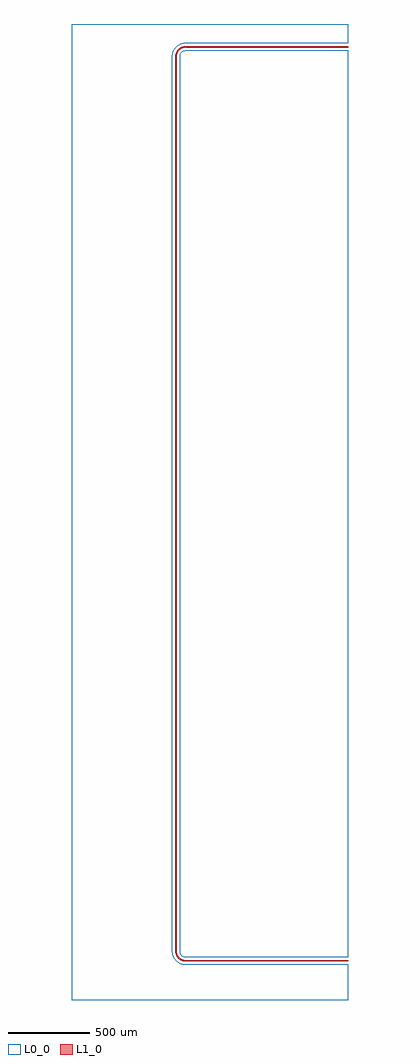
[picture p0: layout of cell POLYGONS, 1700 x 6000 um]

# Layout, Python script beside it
#!/usr/bin/env python
import os
from resgds import *
import bragg
from interface import Interface
import gdspy # gds library
import numpy as np
#from subprocess import call # Use to call kaloput_viewer bash script
#import psutil # Use to check if klayout is running already

# Layout filename
layout_file ='0_Mirrors_Bragg2_CST.gds'

# Parameters
#__________________________________________________________
sub_x, sub_y = [1700, 6000] # substrate dimensions
wc, gc, lc = [8.11, 17.85, 8108.45] # Cavity width, gap, length
wlow, llow = [30.44, 4051.32]  # Low Z section
whigh, lhigh = [2, 4051.32] # High Z section
glow, ghigh = [.5*(wc + 2*gc - wlow),.5*(wc + 2*gc - whigh)]

rext, rlow, rhigh = [0, 55, 55] # radii

lext1, lext2 = [400, 1200] # Extrude lengths
lext3 = llow - lext1 - lext2 - 500*np.pi - 150*np.pi

# Start making resonator geometry
############################################################################

# # Setup gds cell and gds object
poly_cell = gdspy.Cell('POLYGONS')
rs = Shapes(poly_cell)

# Substrate coordinate list
sub = rs.rect(sub_x,sub_y,0,0)
substrate = gdspy.Polygon(sub, layer=0)

# Cavity sections
#
coords = lambda x,dx=0: x+dx
# xb_strt,yb_strt = [coords(1250),coords(sub_y/2)- lext2 - lext3 - 140]
xb_strt,yb_strt = [755,1300]
lcav1, lcav2, lcav3 = [1000, 5500, 100]
taper_length = 100

cav_x0,cav_y0 = [coords(xb_strt,-rlow),coords(yb_strt,-lcav1-rlow-wc)] 
cav_cond = [rs.rect(lcav1, wc, cav_x0, cav_y0)]

cav_x1,cav_y1 = [coords(xb_strt,-rlow),coords(yb_strt,-lcav1)]
cav_cond += [rs.quarterarc(rlow,wc,cav_x1,cav_y1,orientation='SW',npoints=40)]

cav_x2,cav_y2 = [coords(xb_strt,-2*rlow-wc),coords(yb_strt,-lcav1)]
cav_cond += [rs.rect(wc,lcav2,cav_x2,cav_y2)]

cav_x3,cav_y3 = [coords(xb_strt,-rlow),coords(yb_strt,lcav2-lcav1)]
cav_cond += [rs.quarterarc(rlow,wc,cav_x3,cav_y3,orientation='NW',npoints=40)]

cav_x4,cav_y4 = [coords(xb_strt,-rlow),coords(cav_y3,rlow)]
cav_cond += [rs.rect(lcav1,wc,cav_x4,cav_y4)]


for i in range(0,len(cav_cond)):
	cavity = gdspy.Polygon(cav_cond[i],1)
	poly_cell.add(cavity)


# Cavity substrate remove
crmw = wc+2*gc

cav_x0r,cav_y0r = [coords(xb_strt,-gc),coords(yb_strt,-lcav1-rlow+gc-crmw)] 
cav_rm = [rs.rect(lcav1,crmw, cav_x0r-rlow+gc, cav_y0r)]

cav_x1r,cav_y1r = [coords(cav_x0r,-rlow+gc),coords(yb_strt,-lcav1)]
cav_rm += [rs.quarterarc(rlow-gc,crmw,cav_x1r,cav_y1r,orientation='SW',npoints=40)]

cav_x2r,cav_y2r = [coords(xb_strt,-2*rlow-gc-wc),coords(yb_strt,-lcav1)]
cav_rm += [rs.rect(crmw,lcav2,cav_x2r,cav_y2r)]

cav_x3r,cav_y3r = [coords(cav_x0r,-rlow+gc),coords(yb_strt,lcav2-lcav1)]
cav_rm += [rs.quarterarc(rlow-gc,crmw,cav_x3r,cav_y3r,orientation='NW',npoints=40)]

cav_x4r,cav_y4r = [coords(cav_x0r),coords(cav_y3r,rlow+gc+wc-crmw)]
cav_rm += [rs.rect(lcav1,crmw,cav_x0r-rlow+gc,cav_y4r)]

for i in range(0,len(cav_rm)):
	remove = gdspy.Polygon(cav_rm[i],2)
	substrate = gdspy.fast_boolean(substrate,remove, 'not', 
		precision=1e-9, max_points=1000, layer=0)


# # Bragg Mirror Sections
# ###########################################################################

# # LOWER BRAGG SECTIONS
# ######################
# no_periods = 4
# highZ = bragg.BraggCST(whigh, ghigh, lhigh, poly_cell, radius=rhigh, layer=2)
# lowZ = bragg.BraggCST(wlow, glow, llow, poly_cell, radius=rlow, layer=2)
# rmw = wc+2*gc
# rmlZ = bragg.BraggCST(rmw, gc, llow, poly_cell, radius=48.315, layer=2)
# rmhZ = bragg.BraggCST(rmw, gc, lhigh, poly_cell, radius=34.095, layer=2)

# xlz1,ylz1 = [coords(xb_strt+wc/2-wlow/2),coords(yb_strt)]
# lz = [lowZ.mirror(xlz1,ylz1, w_remove=wc, g_remove=gc)]

# xhz1,yhz1 = [coords(xlz1-wlow/2-whigh/2+lowZ.mirror_width()),coords(yb_strt)]
# hz = [highZ.mirror(xhz1,yhz1, w_remove=wc, g_remove=gc)]

# xlz2,ylz2 = [coords(xhz1-whigh/2-wlow/2+highZ.mirror_width()),coords(yb_strt)]
# lz += [lowZ.mirror(xlz2,ylz2, w_remove=wc, g_remove=gc)]

# xhz2,yhz2 = [coords(xlz2-wlow/2-whigh/2+lowZ.mirror_width()),coords(yb_strt)]
# hz += [highZ.mirror(xhz2,yhz2, w_remove=wc, g_remove=gc)]

# xlz3,ylz3 = [coords(xhz2-whigh/2-wlow/2+highZ.mirror_width()),coords(yb_strt)]
# lz += [lowZ.mirror(xlz3,ylz3, w_remove=wc, g_remove=gc)]

# xhz3,yhz3 = [coords(xlz3-wlow/2-whigh/2+lowZ.mirror_width()),coords(yb_strt)]
# hz += [highZ.mirror(xhz3,yhz3, w_remove=wc, g_remove=gc)]

# xlz4,ylz4 = [coords(xhz3-whigh/2-wlow/2+highZ.mirror_width()),coords(yb_strt)]
# lz += [lowZ.mirror(xlz4,ylz4, w_remove=wc, g_remove=gc)]

# xhz4,yhz4 = [coords(xlz4-wlow/2-whigh/2+lowZ.mirror_width()),coords(yb_strt)]
# hz += [highZ.mirror(xhz4,yhz4, w_remove=wc, g_remove=gc)]

# # LOWER BRAGG SECTION REMOVES
# #############################

# ll1,ll2,ll3,arcl = lowZ.section_lengths(wlow,glow)
# lengths_low=[ll1,ll2,ll3,arcl]

# lh1,lh2,lh3,arch = highZ.section_lengths(whigh,ghigh)
# lengths_high=[lh1,lh2,lh3,arch]

# xrm1,yrm1 = [coords(xb_strt,-rmw/2+wc/2),coords(yb_strt)]
# rm = [rmlZ.mirror_removes(xrm1,yrm1,lengths_low)]

# xrm2,yrm2 = [coords(xrm1,-wlow+lowZ.mirror_width()),coords(yb_strt)]
# rm += [rmhZ.mirror_removes(xrm2,yrm2,lengths_high)]

# xrm3,yrm3 = [coords(xrm2,-whigh+highZ.mirror_width()),coords(yb_strt)]
# rm += [rmlZ.mirror_removes(xrm3,yrm3,lengths_low)]

# xrm4,yrm4 = [coords(xrm3,-wlow+lowZ.mirror_width()),coords(yb_strt)]
# rm += [rmhZ.mirror_removes(xrm4,yrm4,lengths_high)]

# xrm5,yrm5 = [coords(xrm4,-whigh+highZ.mirror_width()),coords(yb_strt)]
# rm += [rmlZ.mirror_removes(xrm5,yrm5,lengths_low)]

# xrm6,yrm6 = [coords(xrm5,-wlow+lowZ.mirror_width()),coords(yb_strt)]
# rm += [rmhZ.mirror_removes(xrm6,yrm6,lengths_high)]

# xrm7,yrm7 = [coords(xrm6,-whigh+highZ.mirror_width()),coords(yb_strt)]
# rm += [rmlZ.mirror_removes(xrm7,yrm7,lengths_low)]

# xrm8,yrm8 = [coords(xrm7,-wlow+lowZ.mirror_width()),coords(yb_strt)]
# rm += [rmhZ.mirror_removes(xrm8,yrm8,lengths_high)]

# for i in range(0, np.shape(lz)[0]):
# 	for j in range(0, np.shape(lz)[1]):
# 		mirror_lz = gdspy.Polygon(lz[i][j],1)
# 		mirror_hz = gdspy.Polygon(hz[i][j],1)
# 		poly_cell.add(mirror_lz)
# 		poly_cell.add(mirror_hz)

# for i in range(0, np.shape(rm)[0]):
# 	for j in range(0, np.shape(rm)[1]):
# 		mirror_rm = gdspy.Polygon(rm[i][j],2)
# 		substrate = gdspy.fast_boolean(substrate,mirror_rm, 'not', 
# 		precision=1e-9, max_points=1000, layer=0)

# # UPPER BRAGG SECTIONS
# ######################

# xlz1,ylz1 = [coords(xb_strt+wc/2-wlow/2),coords(cav_y4,-lcav1)]
# lz = [lowZ.rotate_mirror(xlz1,ylz1, w_remove=wc, g_remove=gc)]

# xhz1,yhz1 = [coords(xlz1-wlow/2-whigh/2+lowZ.mirror_width()),coords(ylz1)]
# hz = [highZ.rotate_mirror(xhz1,yhz1, w_remove=wc, g_remove=gc)]

# xlz2,ylz2 = [coords(xhz1-whigh/2-wlow/2+highZ.mirror_width()),coords(yhz1)]
# lz += [lowZ.rotate_mirror(xlz2,ylz2, w_remove=wc, g_remove=gc)]

# xhz2,yhz2 = [coords(xlz2-wlow/2-whigh/2+lowZ.mirror_width()),coords(ylz1)]
# hz += [highZ.rotate_mirror(xhz2,yhz2, w_remove=wc, g_remove=gc)]

# xlz3,ylz3 = [coords(xhz2-whigh/2-wlow/2+highZ.mirror_width()),coords(yhz1)]
# lz += [lowZ.rotate_mirror(xlz3,ylz3, w_remove=wc, g_remove=gc)]

# xhz3,yhz3 = [coords(xlz3-wlow/2-whigh/2+lowZ.mirror_width()),coords(ylz1)]
# hz += [highZ.rotate_mirror(xhz3,yhz3, w_remove=wc, g_remove=gc)]

# xlz4,ylz4 = [coords(xhz3-whigh/2-wlow/2+highZ.mirror_width()),coords(yhz1)]
# lz += [lowZ.rotate_mirror(xlz4,ylz4, w_remove=wc, g_remove=gc)]

# xhz4,yhz4 = [coords(xlz4-wlow/2-whigh/2+lowZ.mirror_width()),coords(ylz1)]
# hz += [highZ.rotate_mirror(xhz4,yhz4, w_remove=wc, g_remove=gc)]

# for i in range(0, np.shape(lz)[0]):
# 	for j in range(0, np.shape(lz)[1]):
# 		mirror_lz = gdspy.Polygon(lz[i][j],1)
# 		mirror_hz = gdspy.Polygon(hz[i][j],1)
# 		poly_cell.add(mirror_lz)
# 		poly_cell.add(mirror_hz)

# # UPPER BRAGG SECTION REMOVES
# #############################

# xrm1,yrm1 = [coords(xb_strt,-rmw/2+wc/2),coords(ylz1)]
# rm = [rmlZ.rotate_mirror_removes(xrm1,yrm1,lengths_low)]

# xrm2,yrm2 = [coords(xrm1,-wlow+lowZ.mirror_width()),coords(ylz1)]
# rm += [rmhZ.rotate_mirror_removes(xrm2,yrm2,lengths_high)]

# xrm3,yrm3 = [coords(xrm2,-whigh+highZ.mirror_width()),coords(ylz1)]
# rm += [rmlZ.rotate_mirror_removes(xrm3,yrm3,lengths_low)]

# xrm4,yrm4 = [coords(xrm3,-wlow+lowZ.mirror_width()),coords(ylz1)]
# rm += [rmhZ.rotate_mirror_removes(xrm4,yrm4,lengths_high)]

# xrm5,yrm5 = [coords(xrm4,-whigh+highZ.mirror_width()),coords(ylz1)]
# rm += [rmlZ.rotate_mirror_removes(xrm5,yrm5,lengths_low)]

# xrm6,yrm6 = [coords(xrm5,-wlow+lowZ.mirror_width()),coords(ylz1)]
# rm += [rmhZ.rotate_mirror_removes(xrm6,yrm6,lengths_high)]

# xrm7,yrm7 = [coords(xrm6,-whigh+highZ.mirror_width()),coords(ylz1)]
# rm += [rmlZ.rotate_mirror_removes(xrm7,yrm7,lengths_low)]

# xrm8,yrm8 = [coords(xrm7,-wlow+lowZ.mirror_width()),coords(ylz1)]
# rm += [rmhZ.rotate_mirror_removes(xrm8,yrm8,lengths_high)]

# for i in range(0, np.shape(rm)[0]):
# 	for j in range(0, np.shape(rm)[1]):
# 		mirror_rm = gdspy.Polygon(rm[i][j],2)
# 		substrate = gdspy.fast_boolean(substrate,mirror_rm, 'not', 
# 		precision=1e-9, max_points=1000, layer=0)


# # FEEDLINE SECTIONS
# ####################################################################

# # LOWER FEED 
# #
# l1, l2, l3, arc = highZ.section_lengths(wc,gc)
# cc, ratio, bond_pad, rfeed = [2*ghigh, .5, 400, 100]
# feedin_length, feedlink_length, feed_st_length = [100,685,1600]
# rstrt = rlow + 100
# rlow = 100

# # Low Z feedline sections
# #
# xf0Low = xhz4 + highZ.mirror_width() - wlow/2 - whigh/2#xb_strt + no_periods*(lowZ.mirror_width() + highZ.mirror_width())
# yf0Low = yb_strt
# feedline = [rs.rect(wlow,l1,xf0Low,yf0Low)]

# xf1Low,yf1Low = [coords(xf0Low,rstrt+wlow),coords(yf0Low,l1)]
# feedline += [rs.halfarc(rstrt,wlow,xf1Low, yf1Low,orientation='N',npoints=40)]

# xf2Low,yf2Low = [coords(xf1Low,rstrt),coords(yf1Low)]
# feedline += [rs.rect(wlow,-l2,xf2Low,yf2Low)]

# xf3Low,yf3Low = [coords(xf2Low),coords(yf2Low,-l2)]
# feedline += [rs.rect(wlow,-l3/4,xf3Low,yf3Low)]

# xf4Low,yf4Low = [coords(xf3Low,-rlow),coords(yf3Low,-l3/4)]
# feedline += [rs.quarterarc(rlow,wlow,xf4Low,yf4Low,orientation='SE',npoints=20)]

# xf5Low,yf5Low = [coords(xf4Low,-3*l3/4-arc/2+230),coords(yf4Low, - rlow - wlow)]
# feedline += [rs.rect(3*l3/4+arc/2-230,wlow,xf5Low,yf5Low)]

# # High Z feedline sections
# #
# xf0High,yf0High = [coords(xf5Low,-l2-733/2),coords(yf5Low,+wlow/2-whigh/2)]
# feedline += [rs.rect(l2+733/2,whigh,xf0High,yf0High)]

# xf1High,yf1High = [coords(xf0High),coords(yf0High,-rhigh)]
# feedline += [rs.halfarc(rhigh,whigh,xf1High, yf1High,orientation='W',npoints=40)]

# xf2High,yf2High = [coords(xf1High),coords(yf1High,-rhigh - whigh)]
# feedline += [rs.rect(l3+l1-733/2,whigh,xf2High,yf2High)]

# xf3High,yf3High = [coords(xf2High,l3+l1-733/2),coords(yf2High,-rhigh)]
# feedline += [rs.quarterarc(rhigh,whigh,xf3High,yf3High,orientation='NE',npoints=20)]

# xf4High,yf4High = [coords(xf3High,rhigh),coords(yf3High,-arc/2)]
# feedline += [rs.rect(whigh,arc/2,xf4High,yf4High)]

# for i in range(0,np.shape(feedline)[0]):
# 	feed = gdspy.Polygon(feedline[i],1)
# 	poly_cell.add(feed)

# # Lower Feedbond
# #
# xf5High,yf5High = [coords(xf4High,-2*whigh-4*ghigh),coords(yf4High-arc/2)]

# H=400
# w = H*(1 + 2*.5)
# l = H*.5

# xbond, ybond = [coords(xf4High),coords(yf4High)]
# feedbond = [rs.triangle(xbond+whigh,ybond,xbond,ybond,
# 	xbond-400,ybond-300,xbond+400,ybond-300)]


# # LOWER FEEDLINE REMOVES
# ########################
# # Low Z feedline removes
# #

# rstrt = rstrt - 7.185
# xf0Low = xhz4 + highZ.mirror_width() - rmw/2 - 1
# yf0Lowr = yf0Low
# feedline_remove = [rs.rect(rmw,l1,xf0Low,yf0Low)]

# xf1Low,yf1Low = [coords(xf0Low,rstrt+rmw),coords(yf0Low,l1)]
# feedline_remove += [rs.halfarc(rstrt,rmw,xf1Low, yf1Low,orientation='N',npoints=40)]

# xf2Low,yf2Low = [coords(xf1Low,rstrt),coords(yf1Low)]
# feedline_remove += [rs.rect(rmw,-l2,xf2Low,yf2Low)]

# xf3Low,yf3Low = [coords(xf2Low),coords(yf2Low,-l2)]
# feedline_remove += [rs.rect(rmw,-l3/4,xf3Low,yf3Low)]

# rstrt = rstrt + 39
# xf4Low,yf4Low = [coords(xf3Low,-rstrt/2),coords(yf3Low,-l3/4)]
# feedline_remove += [rs.quarterarc(rstrt/2,rmw,xf4Low,yf4Low,orientation='SE',npoints=20)]

# xf5Low,yf5Low = [coords(xf4Low,-3*l3/4-arc/2+230),coords(yf4Low, - rstrt/2 - rmw)]
# feedline_remove += [rs.rect(3*l3/4+arc/2-230,rmw,xf5Low,yf5Low)]

# # High Z feedline removes
# #
# xf0High,yf0High = [coords(xf5Low,-l2-733/2),coords(yf5Low)]
# feedline_remove += [rs.rect(l2+733/2,rmw,xf0High,yf0High)]

# rharc = 34.05
# xf1High,yf1High = [coords(xf0High),coords(yf0High,-rharc)]
# feedline_remove += [rs.halfarc(rharc,rmw,xf1High, yf1High,orientation='W',npoints=40)]

# xf2High,yf2High = [coords(xf1High),coords(yf1High,-rharc - rmw)]
# feedline_remove += [rs.rect(l3+l1-733/2,rmw,xf2High,yf2High)]

# xf3High,yf3High = [coords(xf2High,l3+l1-733/2),coords(yf2High,-rharc)]
# feedline_remove += [rs.quarterarc(rharc,rmw,xf3High,yf3High,orientation='NE',npoints=20)]

# xf4High,yf4High = [coords(xf3High,rharc),coords(yf3High,-arc/2)]
# feedline_remove += [rs.rect(rmw,arc/2,xf4High,yf4High)]

# xbond, ybond = [coords(xf4High),coords(yf4High)]
# feedline_remove += [rs.triangle(xbond+rmw,ybond,xbond,ybond,
# 	xbond-440,ybond-320,xbond+480,ybond-320)]

# # UPPER FEED 
# #
# # Low Z feedline sections
# #
# xf0Low = xhz4 + highZ.mirror_width() - wlow/2 - whigh/2#xb_strt + no_periods*(lowZ.mirror_width() + highZ.mirror_width())
# yf0Low = yhz4
# feedline = [rs.rect(wlow,-l1,xf0Low,yf0Low)]

# xf1Low,yf1Low = [coords(xf0Low,rstrt+wlow),coords(yf0Low,-l1)]
# feedline += [rs.halfarc(rstrt,wlow,xf1Low, yf1Low,orientation='S',npoints=40)]

# xf2Low,yf2Low = [coords(xf1Low,rstrt),coords(yf1Low)]
# feedline += [rs.rect(wlow,l2,xf2Low,yf2Low)]

# xf3Low,yf3Low = [coords(xf2Low),coords(yf2Low,l2)]
# feedline += [rs.rect(wlow,l3/4,xf3Low,yf3Low)]

# xf4Low,yf4Low = [coords(xf3Low,-rlow),coords(yf3Low,l3/4)]
# feedline += [rs.quarterarc(rlow,wlow,xf4Low,yf4Low,orientation='NE',npoints=20)]

# xf5Low,yf5Low = [coords(xf4Low,-3*l3/4-arc/2+230),coords(yf4Low, + rlow)]
# feedline += [rs.rect(3*l3/4+arc/2-230,wlow,xf5Low,yf5Low)]

# # High Z feedline sections
# #
# xf0High,yf0High = [coords(xf5Low,-l2-733/2),coords(yf5Low,+wlow/2-whigh/2)]
# feedline += [rs.rect(l2+733/2,whigh,xf0High,yf0High)]

# xf1High,yf1High = [coords(xf0High),coords(yf0High,rhigh+whigh)]
# feedline += [rs.halfarc(rhigh,whigh,xf1High, yf1High,orientation='W',npoints=40)]

# xf2High,yf2High = [coords(xf1High),coords(yf1High,+rhigh)]
# feedline += [rs.rect(l3+l1-733/2,whigh,xf2High,yf2High)]

# xf3High,yf3High = [coords(xf2High,l3+l1-733/2),coords(yf2High,rhigh+whigh)]
# feedline += [rs.quarterarc(rhigh,whigh,xf3High,yf3High,orientation='SE',npoints=20)]

# xf4High,yf4High = [coords(xf3High,rhigh),coords(yf3High,arc/2)]
# feedline += [rs.rect(whigh,-arc/2,xf4High,yf4High)]

# xbond, ybond = [coords(xf4High),coords(yf4High)]
# feedline += [rs.triangle(xbond,ybond,xbond+whigh,ybond,
# 	xbond+400,ybond+300,xbond-400,ybond+300)]

# for i in range(np.shape(feedline)[0]):
# 	feed = gdspy.Polygon(feedline[i],1)
# 	poly_cell.add(feed)

# # UPPER FEEDLINE REMOVES
# ########################
# # Low Z feedline removes
# #

# rstrt = rstrt - 7.185
# xf0Low = xhz4 + highZ.mirror_width() - rmw/2-1
# yf0Lowr = yf0Low
# feedline_remove += [rs.rect(rmw,-l1,xf0Low,yf0Low)]

# xf1Low,yf1Low = [coords(xf0Low,rstrt+rmw),coords(yf0Low,-l1)]
# feedline_remove += [rs.halfarc(rstrt,rmw,xf1Low, yf1Low,orientation='S',npoints=40)]

# xf2Low,yf2Low = [coords(xf1Low,rstrt),coords(yf1Low)]
# feedline_remove += [rs.rect(rmw,l2,xf2Low,yf2Low)]

# xf3Low,yf3Low = [coords(xf2Low),coords(yf2Low,l2)]
# feedline_remove += [rs.rect(rmw,l3/4,xf3Low,yf3Low)]

# rstrt = rstrt+7.185
# xf4Low,yf4Low = [coords(xf3Low,-rstrt/2),coords(yf3Low,l3/4)]
# feedline_remove += [rs.quarterarc(rstrt/2,rmw,xf4Low,yf4Low,orientation='NE',npoints=20)]

# xf5Low,yf5Low = [coords(xf4Low,-3*l3/4-arc/2+230),coords(yf4Low, + rstrt/2)]
# feedline_remove += [rs.rect(3*l3/4+arc/2-230,rmw,xf5Low,yf5Low)]

# # High Z feedline removes
# #
# xf0High,yf0High = [coords(xf5Low,-l2-733/2),coords(yf5Low)]
# feedline_remove += [rs.rect(l2+733/2,rmw,xf0High,yf0High)]

# rharc = 34.05
# xf1High,yf1High = [coords(xf0High),coords(yf0High,rharc+rmw)]
# feedline_remove += [rs.halfarc(rharc,rmw,xf1High, yf1High,orientation='W',npoints=40)]

# xf2High,yf2High = [coords(xf1High),coords(yf1High,rharc)]
# feedline_remove += [rs.rect(l3+l1-733/2,rmw,xf2High,yf2High)]

# xf3High,yf3High = [coords(xf2High,l3+l1-733/2),coords(yf2High,rharc+rmw)]
# feedline_remove += [rs.quarterarc(rharc,rmw,xf3High,yf3High,orientation='SE',npoints=20)]

# xf4High,yf4High = [coords(xf3High,rharc),coords(yf3High,arc/2)]
# feedline_remove += [rs.rect(rmw,-arc/2,xf4High,yf4High)]

# xbond, ybond = [coords(xf4High),coords(yf4High)]
# feedline_remove += [rs.triangle(xbond,ybond,xbond+rmw,ybond,
# 	xbond+480,ybond+320,xbond-440,ybond+320)]

# # for i in range(np.shape(feedline_remove)[0]):
# # 	feed = gdspy.Polygon(feedline_remove[i],2)
# # 	poly_cell.add(feed)

# ###########

# ################
# for i in range(0, np.shape(feedline_remove)[0]):
# 	feed_rm = gdspy.Polygon(feedline_remove[i],2)
# 	substrate = gdspy.fast_boolean(substrate,feed_rm, 'not', 
# 		precision=1e-9, max_points=1000, layer=0)

# for i in range(0,np.shape(feedbond)[0]):
# 	bond = gdspy.Polygon(feedbond[i],1)
# 	poly_cell.add(bond)

poly_cell.add(substrate)


###########################################################################
# Make gds file and open up klayout
inter = Interface()
inter.klayout(layout_file)
